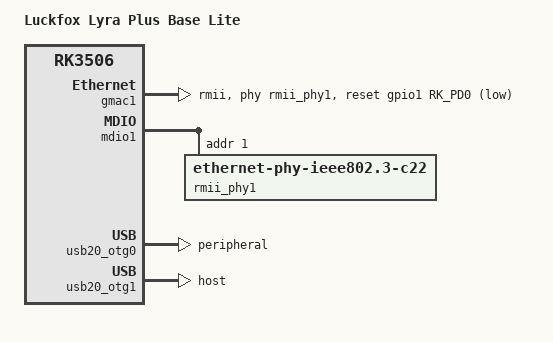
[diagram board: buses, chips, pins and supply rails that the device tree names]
// SPDX-License-Identifier: (GPL-2.0+ OR MIT)
/*
 * Luckfox Lyra Plus - Base Lite (no display/audio)
 * All 3 CPUs for Linux, no AMP, headless optimized
 */

/dts-v1/;

#include "rk3506-luckfox-lyra-base-lite.dtsi"

/ {
	model = "Luckfox Lyra Plus Base Lite";
	compatible = "rockchip,rk3506g-luckfox-lyra-base-lite", "rockchip,rk3506";

	chosen {
		bootargs = "earlycon=uart8250,mmio32,0xff0a0000 console=ttyFIQ0 root=ubi0:rootfs ubi.mtd=2 rootfstype=ubifs rootwait";
	};
};

/**********ethernet**********/
&gmac1 {
	phy-mode = "rmii";
	clock_in_out = "output";

	snps,reset-gpio = <&gpio1 RK_PD0 GPIO_ACTIVE_LOW>;
	snps,reset-active-low;
	snps,reset-delays-us = <0 20000 100000>;

	pinctrl-names = "default";
	pinctrl-0 = <&eth_rmii1_miim_pins &eth_rmii1_tx_bus2_pins &eth_rmii1_rx_bus2_pins &eth_rmii1_clk_pins>;

	phy-handle = <&rmii_phy1>;
	status = "okay";
};

&mdio1 {
	rmii_phy1: phy@1 {
		compatible = "ethernet-phy-ieee802.3-c22";
		reg = <0x1>;
	};
};

/**********usb**********/
&usb20_otg0 {
	dr_mode = "peripheral";
	status = "okay";
};

&usb20_otg1 {
	dr_mode = "host";
	status = "okay";
};
